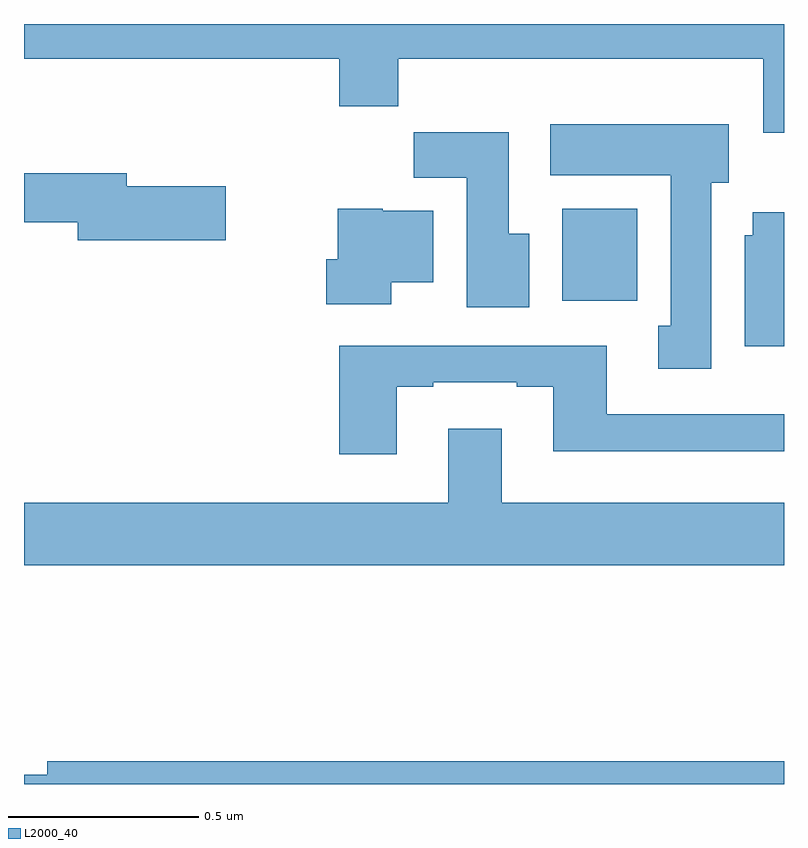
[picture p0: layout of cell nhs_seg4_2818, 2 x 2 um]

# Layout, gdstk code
import gdstk
lib = gdstk.Library(unit=1e-6, precision=1e-09)
def R(c, l, rs):  # rectangles x0, y0, x1, y1
    for r in rs: c.add(gdstk.rectangle(r[:2], r[2:], *l))
def P(c, l, *ps):  # polygons
    for p in ps: c.add(gdstk.Polygon(p, *l))
L2000_40 = (2000, 40)

nhs_seg4_2818 = lib.new_cell('nhs_seg4_2818')
R(nhs_seg4_2818, L2000_40, [(146.417,808.172,146.614,808.414)])
P(nhs_seg4_2818, L2000_40, [(147,808.9),(145,808.9),(145,808.808),(145.829,808.808),(145.829,808.684),(145.985,808.684),(145.985,808.808),(146.945,808.808),(146.945,808.614),(147,808.614)],
  [(146.809,808.482),(146.854,808.482),(146.854,808.636),(146.385,808.636),(146.385,808.502),(146.702,808.502),(146.702,808.106),(146.669,808.106),(146.669,807.993),(146.809,807.993)],
  [(146.329,808.348),(146.275,808.348),(146.275,808.615),(146.026,808.615),(146.026,808.496),(146.165,808.496),(146.165,808.155),(146.329,808.155)],
  [(145.531,808.473),(145.27,808.473),(145.27,808.507),(145,808.507),(145,808.378),(145.142,808.378),(145.142,808.331),(145.531,808.331)],
  [(145.966,808.22),(146.077,808.22),(146.077,808.408),(145.944,808.408),(145.944,808.414),(145.826,808.414),(145.826,808.281),(145.796,808.281),(145.796,808.163),(145.966,808.163)],
  [(147,808.405),(146.918,808.405),(146.918,808.344),(146.897,808.344),(146.897,808.052),(147,808.052)],
  [(145.981,807.945),(146.077,807.945),(146.077,807.957),(146.297,807.957),(146.297,807.945),(146.393,807.945),(146.393,807.776),(147,807.776),(147,807.873),(146.533,807.873),(146.533,808.053),(145.829,808.053),(145.829,807.768),(145.981,807.768)],
  [(147,807.64),(146.257,807.64),(146.257,807.835),(146.117,807.835),(146.117,807.64),(145,807.64),(145,807.476),(147,807.476)],
  [(147,806.96),(145.061,806.96),(145.061,806.924),(145,806.924),(145,806.9),(147,806.9)])

lib.write_gds('nhs_seg4_2818.gds')
